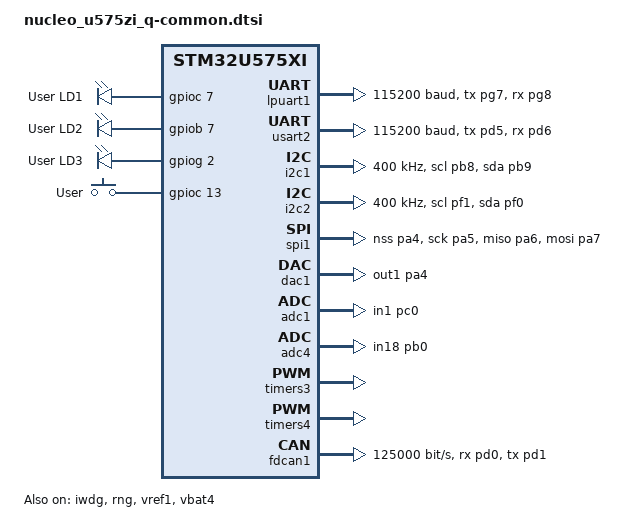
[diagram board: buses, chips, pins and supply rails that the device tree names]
/*
 * Copyright (c) 2021 Linaro Limited
 *
 * SPDX-License-Identifier: Apache-2.0
 */

#include <st/u5/stm32u575Xi.dtsi>
#include <st/u5/stm32u575zitxq-pinctrl.dtsi>
#include "arduino_r3_connector.dtsi"
#include <zephyr/dt-bindings/input/input-event-codes.h>

/ {
	leds: leds {
		compatible = "gpio-leds";
		green_led_1: led_1 {
			gpios = <&gpioc 7 GPIO_ACTIVE_HIGH>;
			label = "User LD1";
		};
		blue_led_1: led_2 {
			gpios = <&gpiob 7 GPIO_ACTIVE_HIGH>;
			label = "User LD2";
		};
		red_led_1: led_3 {
			gpios = <&gpiog 2 GPIO_ACTIVE_HIGH>;
			label = "User LD3";
		};
	};

	gpio_keys {
		compatible = "gpio-keys";
		user_button: button {
			label = "User";
			gpios = <&gpioc 13 GPIO_ACTIVE_HIGH>;
			zephyr,code = <INPUT_KEY_0>;
		};
	};

	pwmleds: pwmleds {
		compatible = "pwm-leds";
		status = "disabled";

		pwm_led_1: green_led_1 {
			pwms = <&pwm3 2 PWM_MSEC(20) PWM_POLARITY_NORMAL>;
			label = "green led";
		};

		pwm_led_2: blue_led_1 {
			pwms = <&pwm4 2 PWM_MSEC(20) PWM_POLARITY_NORMAL>;
			label = "blue led";
		};
	};
};

&clk_hsi48 {
	status = "okay";
};

&clk_lse {
	status = "okay";
};

&clk_msis {
	status = "okay";
	msi-range = <4>;
	msi-pll-mode;
};

&pll1 {
	div-m = <1>;
	mul-n = <80>;
	div-q = <2>;
	div-r = <2>;
	clocks = <&clk_msis>;
	status = "okay";
};

&rcc {
	clocks = <&pll1>;
	clock-frequency = <DT_FREQ_M(160)>;
	ahb-prescaler = <1>;
	apb1-prescaler = <1>;
	apb2-prescaler = <1>;
	apb3-prescaler = <1>;
};

&lpuart1 {
	pinctrl-0 = <&lpuart1_tx_pg7 &lpuart1_rx_pg8>;
	pinctrl-names = "default";
	current-speed = <115200>;
	status = "okay";
};

&usart2 {
	pinctrl-0 = <&usart2_tx_pd5 &usart2_rx_pd6>;
	pinctrl-names = "default";
	current-speed = <115200>;
	status = "okay";
};

&i2c1 {
	pinctrl-0 = <&i2c1_scl_pb8 &i2c1_sda_pb9>;
	pinctrl-names = "default";
	status = "okay";
	clock-frequency = <I2C_BITRATE_FAST>;
};

&i2c2 {
	pinctrl-0 = <&i2c2_scl_pf1 &i2c2_sda_pf0>;
	pinctrl-names = "default";
	status = "okay";
	clock-frequency = <I2C_BITRATE_FAST>;
};

&spi1 {
	pinctrl-0 = <&spi1_nss_pa4 &spi1_sck_pa5
		     &spi1_miso_pa6 &spi1_mosi_pa7>;
	pinctrl-names = "default";
	status = "okay";
};

&dac1 {
	/* CAUTION: DAC on PA4 may conflict with SPI1 NSS on same pin */
	pinctrl-0 = <&dac1_out1_pa4>;
	pinctrl-names = "default";
	status = "okay";
};

&adc1 {
	pinctrl-0 = <&adc1_in1_pc0>;
	pinctrl-names = "default";
	st,adc-clock-source = <ASYNC>;
	st,adc-prescaler = <4>;
	status = "okay";
};

&adc4 {
	pinctrl-0 = <&adc4_in18_pb0>;
	pinctrl-names = "default";
	st,adc-clock-source = <ASYNC>;
	st,adc-prescaler = <4>;
	status = "okay";
};

&timers3 {
	st,prescaler = <10000>;
	status = "okay";

	pwm3: pwm {
	pinctrl-0 = <&tim3_ch2_pc7>;
		pinctrl-names = "default";
		status = "okay";
	};
};

&timers4 {
	st,prescaler = <10000>;
	status = "okay";

	pwm4: pwm {
		pinctrl-0 = <&tim4_ch2_pb7>;
		pinctrl-names = "default";
		status = "okay";
	};
};

&iwdg {
	status = "okay";
};

&rng {
	status = "okay";
};

&fdcan1 {
	clocks = <&rcc STM32_CLOCK_BUS_APB1_2 0x00000200>,
		 <&rcc STM32_SRC_PLL1_Q FDCAN1_SEL(1)>;
	pinctrl-0 = <&fdcan1_rx_pd0 &fdcan1_tx_pd1>;
	pinctrl-names = "default";
	bus-speed = <125000>;
	bus-speed-data = <1000000>;
	status = "okay";
};

&vref1 {
	status = "okay";
};

&vbat4 {
	status = "okay";
};
